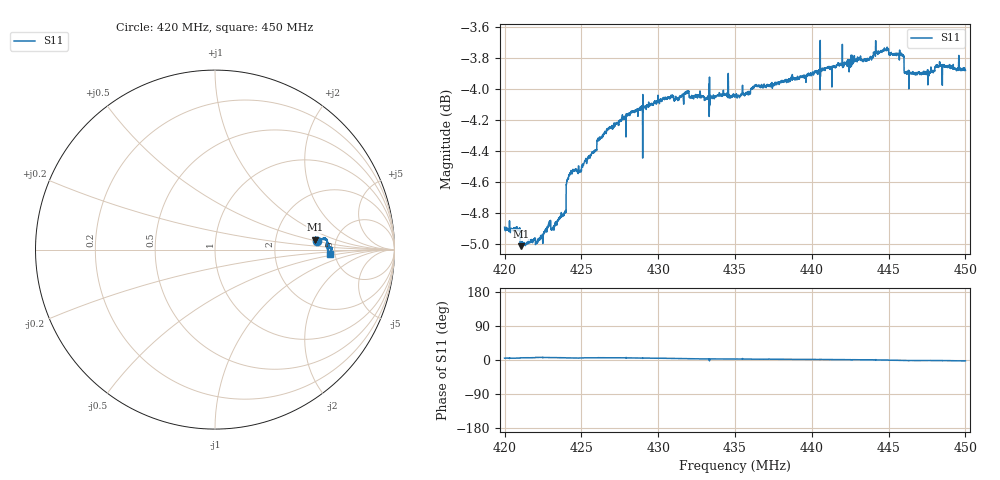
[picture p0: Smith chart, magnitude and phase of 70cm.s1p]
! Calibrated averaged scanner-service zoom
# Hz S RI R 50
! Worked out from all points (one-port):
!   3001 points, 420 MHz to 450 MHz, reference 50 ohm
!   lowest |S11| = -5.0 dB at 421.1 MHz (marker M1), VSWR 3.56, Z = 173 + j28.4 ohm
!   |S11| at or under -10 dB: nowhere
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4.2e8  0.5674 0.0482
4.2085e8  0.5661 0.0494
4.2105e8  0.5587 0.0562
4.2185e8  0.5603 0.0606
4.2216e8  0.5598 0.067
4.2375e8  0.5708 0.0604
4.2385e8  0.5716 0.0597
4.2424e8  0.59 0.058
4.2486e8  0.591 0.0543
4.2616e8  0.6045 0.0631
4.275e8  0.6126 0.0635
4.3125e8  0.6254 0.0427
4.3216e8  0.6267 0.0345
4.3312e8  0.6254 0.0323
4.332e8  0.6264 0.0323
4.3343e8  0.6268 0.0308
4.3351e8  0.6261 0.0311
4.35e8  0.6269 0.0283
4.3875e8  0.6366 0.0195
4.425e8  0.6447 0.00918
4.4385e8  0.646 0.00604
4.4485e8  0.6496 -0.00112
4.4516e8  0.6477 -0.00701
4.4585e8  0.6475 -0.0105
4.4625e8  0.6391 -0.0145
4.4773e8  0.6385 -0.0148
4.4824e8  0.6417 -0.017
4.5e8  0.6394 -0.0251
